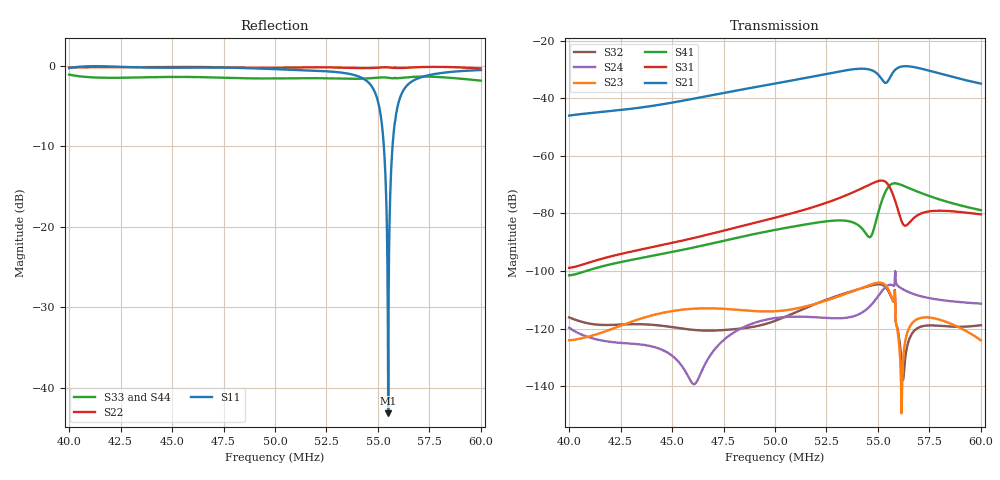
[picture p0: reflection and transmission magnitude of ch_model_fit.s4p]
! .MODEL  SMODEL ch_model S  TSTONEFILE=.\ch_model_fit.s4p  TYPE=SFMAX=  3e+11
! The above .MODEL line can be used for the S element in the netlist.
# Hz S RI R  50
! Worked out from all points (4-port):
!   1001 points, 40 MHz to 60 MHz, reference 50 ohm
!   strongest paths, dB at 40 MHz, 45 MHz, 50 MHz, 55 MHz, 60 MHz:
!     S21: -46.0, -41.5, -34.9, -31.7, -34.9
!     S31: -98.9, -90.2, -81.5, -68.8, -80.3
!     S41: -101.5, -93.4, -85.7, -80.1, -78.9
!     S23: -124.0, -113.9, -114.0, -104.1, -124.0
!     S24: -119.7, -129.4, -116.3, -108.9, -111.3
!     S32: -116.1, -119.5, -117.3, -104.6, -118.8
!   lowest |S11| = -43.2 dB at 55.5 MHz (marker M1), VSWR 1.01, Z = 50.7 - j0.093 ohm
!   |S11| at or under -10 dB: 55.29 MHz to 55.71 MHz (422.5 kHz wide, 0.761 % of centre)
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4e7  0.798 -0.5465  -0.000823 0.00498  -1.2e-05 3.27e-06  -8.71e-06 3.87e-06
     -0.000811 0.00494  0.7802 0.5829  -8.47e-08 6.22e-07  1.02e-06 1.49e-07
     -1.09e-05 3.21e-06  1.56e-06 -1.07e-07  -0.7415 -0.4754  -1.86e-06 7.83e-07
     -8.03e-06 2.57e-06  2.77e-07 1.2e-06  -3.47e-07 -6.67e-07  -0.7412 -0.4735
4.686e7  -0.9702 -0.0948  0.00909 -0.00663  2.03e-05 3.93e-05  1.31e-05 2.65e-05
         0.00901 -0.00661  -0.0563 -0.9788  3.87e-07 -2.21e-06  3.05e-07 -1.61e-07
         2e-05 3.92e-05  -1.8e-08 -9.22e-07  -0.4762 0.7004  1.53e-07 -8.9e-08
         1.34e-05 2.65e-05  6.45e-07 -4.39e-07  4.06e-07 4.48e-08  -0.4733 0.699
5.016e7  -0.119 0.9433  -0.00757 -0.017  8.73e-05 -8.1e-07  5.27e-05 1.98e-07
         -0.00755 -0.0169  -0.9105 -0.3385  -1.55e-06 -1.29e-06  -5.04e-07 -1.46e-06
         8.73e-05 -9.82e-07  -1.32e-06 -5.64e-07  0.0734 0.8312  1.28e-07 1.63e-07
         5.31e-05 -6.27e-08  -4.29e-07 -1.03e-06  5.68e-07 9.56e-08  0.074 0.8277
5.272e7  0.901 0.1847  -0.0277 0.000982  8.24e-05 -0.000142  4.02e-05 -6.19e-05
         -0.0275 0.00105  -0.8345 0.5067  -3.01e-06 1.28e-06  -1.5e-06 -2.4e-07
         8.14e-05 -0.000142  -2.93e-06 1.7e-06  0.496 0.6715  1.07e-07 1.46e-08
         4.07e-05 -6.22e-05  -1.58e-06 1.35e-09  -3.13e-07 -4.65e-07  0.4939 0.6685
5.55e7  0.00687 -0.000917  -0.00606 0.0195  -0.000264 0.000172  0.000104 -0.000267
        -0.00594 0.0194  -0.1423 0.9662  4.3e-06 -2.18e-06  -2.2e-06 5.22e-06
        -0.000264 0.000172  4.15e-06 -1.79e-06  0.7883 0.2948  -6.3e-07 -5.86e-07
        0.000105 -0.000268  -4.67e-06 5.6e-06  9.13e-08 -9.26e-07  0.785 0.2945
5.698e7  -0.816 0.1923  0.0247 0.023  -9.26e-05 2.3e-05  -0.000233 -4.82e-06
         0.0246 0.0227  0.2525 0.9467  1.35e-06 6.53e-07  3.47e-06 1.38e-06
         -9.24e-05 2.33e-05  9.12e-07 5.08e-07  0.8537 0.0585  2.32e-07 3.05e-07
         -0.000235 -4.7e-06  4.62e-06 1.71e-06  -3.23e-08 1.06e-07  0.8507 0.0596
6e7  0.5092 0.7904  0.0151 -0.01  -2.21e-05 9.22e-05  -2.86e-05 0.000109
     0.015 -0.00998  0.8202 0.5037  4.45e-07 -4.43e-07  1.77e-06 -2.06e-06
     -2.32e-05 9.36e-05  1.11e-06 -2.83e-07  0.7018 -0.4012  2.62e-07 2.56e-07
     -2.88e-05 0.00011  1.34e-06 -1.39e-06  5.37e-07 3.09e-07  0.7003 -0.3989
